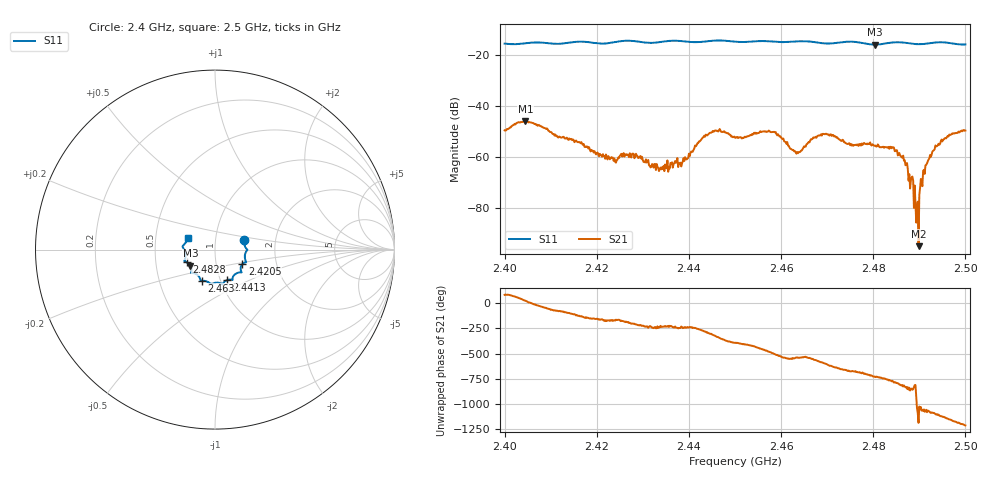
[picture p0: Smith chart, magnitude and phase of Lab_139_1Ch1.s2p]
# Hz S RI R 50
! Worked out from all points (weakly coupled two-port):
!   601 points, 2.4 GHz to 2.5 GHz, reference 50 ohm
!   highest |S21| = -45.79 dB at 2.4045 GHz (marker M1); lowest = -95.1 dB at 2.4898 GHz (marker M2)
!   lowest |S11| = -15.7 dB at 2.4803 GHz (marker M3), VSWR 1.39, Z = 37.4 - j6.84 ohm
!   |S11| at or under -10 dB: start of sweep to end of sweep
!   S12 and S22 are empty: the file has one direction only
!   S11 on the Smith chart (normalised r, x): 2.4 GHz: 1.38, +0.15; 2.4205 GHz: 1.34, -0.22; 2.4413 GHz: 1.08, -0.38; 2.463 GHz: 0.82, -0.29; 2.4828 GHz: 0.72, -0.10; 2.5 GHz: 0.73, +0.10
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2.4e9  0.163 0.0526  0.000386 0.00332  0 0  0 0
2.4045e9  0.1736 0.00644  0.00467 0.00213  0 0  0 0
2.416667e9  0.1734 -0.0697  -0.00118 -0.00156  0 0  0 0
2.4205e9  0.1519 -0.0809  -0.000956 -0.000385  0 0  0 0
2.428167e9  0.1437 -0.1268  -0.000872 0.000364  0 0  0 0
2.433333e9  0.1003 -0.1515  -0.000259 0.000548  0 0  0 0
2.438167e9  0.0938 -0.1684  -0.000329 0.000696  0 0  0 0
2.441333e9  0.0677 -0.1696  -0.000735 0.00151  0 0  0 0
2.445667e9  0.0423 -0.192  0.00264 0.00203  0 0  0 0
2.45e9  0.0246 -0.1856  0.00201 -0.00132  0 0  0 0
2.458333e9  -0.0328 -0.1845  -0.00232 -0.00209  0 0  0 0
2.463e9  -0.0721 -0.1736  -0.0013 0.000102  0 0  0 0
2.466667e9  -0.0814 -0.1673  -0.00217 0.000489  0 0  0 0
2.480333e9  -0.1371 -0.089  0.00165 -0.000197  0 0  0 0
2.482833e9  -0.1587 -0.07  0.00131 -0.000846  0 0  0 0
2.483333e9  -0.1624 -0.0682  0.00112 -0.00111  0 0  0 0
2.486833e9  -0.1689 -0.0571  -0.000232 -0.00083  0 0  0 0
2.489333e9  -0.1643 -0.0312  -4.62e-05 2.14e-05  0 0  0 0
2.489833e9  -0.1649 -0.0245  -4.91e-06 -1.68e-05  0 0  0 0
2.491333e9  -0.1696 -0.00561  0.000675 9.99e-05  0 0  0 0
2.493333e9  -0.1791 0.0114  0.00139 -0.000322  0 0  0 0
2.5e9  -0.1519 0.0642  -0.00221 -0.00246  0 0  0 0
